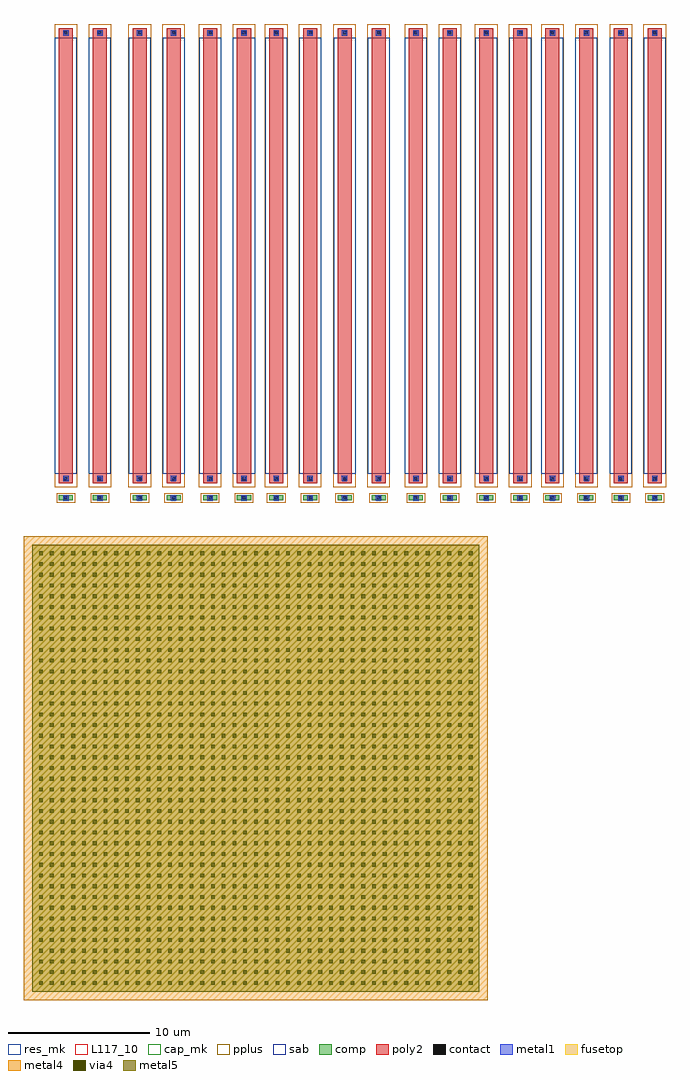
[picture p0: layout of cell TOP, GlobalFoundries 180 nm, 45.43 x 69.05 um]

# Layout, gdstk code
from math import pi, radians
import gdstk
lib = gdstk.Library(unit=1e-6, precision=1e-09)
def R(c, l, rs):  # rectangles x0, y0, x1, y1
    for r in rs: c.add(gdstk.rectangle(r[:2], r[2:], *l))
def A(c, l, x, y, w, h, nx, ny, dx, dy):  # array of equal rectangles
    R(c, l, [(x+i*dx, y+j*dy, x+i*dx+w, y+j*dy+h) for i in range(nx) for j in range(ny)])
comp = (22, 0)
poly2 = (30, 0)
pplus = (31, 0)
contact = (33, 0)
metal1 = (34, 0)
via4 = (41, 0)
metal4 = (46, 0)
sab = (49, 0)
fusetop = (75, 0)
metal5 = (81, 0)
res_mk = (110, 5)
cap_mk = (117, 5)
L117_10 = (117, 10)

ppolyf_u_resistor = lib.new_cell('ppolyf_u_resistor')
R(ppolyf_u_resistor, comp, [(-1.88,0,-1.52,1)])
R(ppolyf_u_resistor, poly2, [(-0.66,0,31.53,1)])
R(ppolyf_u_resistor, pplus, [(-0.96,-0.3,31.83,1.3), (-2.04,-0.16,-1.36,1.16)])
R(ppolyf_u_resistor, contact, [(-1.81,0.39,-1.59,0.61), (-0.44,0.39,-0.22,0.61), (31.09,0.39,31.31,0.61)])
R(ppolyf_u_resistor, metal1, [(-1.89,0.309,-1.51,0.691), (-0.52,0.309,-0.14,0.691), (31.01,0.309,31.39,0.691)])
R(ppolyf_u_resistor, sab, [(0,-0.28,30.87,1.28)])
R(ppolyf_u_resistor, res_mk, [(0,0,30.87,1)])

cap_mim = lib.new_cell('cap_mim')
A(cap_mim, via4, 0.48, 0.48, 0.26, 0.26, 41, 41, 0.76, 0.76)
R(cap_mim, metal4, [(-0.6,-0.6,32.22,32.22)])
R(cap_mim, fusetop, [(0,0,31.62,31.62)])
R(cap_mim, metal5, [(0,0,31.62,31.62)])
R(cap_mim, cap_mk, [(-0.6,-0.6,32.22,32.22)])
R(cap_mim, L117_10, [(0,0,31.62,0.1)])

top = lib.new_cell('TOP')
top.add(gdstk.Reference(ppolyf_u_resistor, (3.85,37.57), rotation=pi/2))
top.add(gdstk.Reference(cap_mim, (32.6,32.57), rotation=pi))
top.add(gdstk.Reference(ppolyf_u_resistor, (3.85,37.57), rotation=pi/2))
top.add(gdstk.Reference(ppolyf_u_resistor, (3.85,37.57), rotation=pi/2))
top.add(gdstk.Reference(ppolyf_u_resistor, (14.05,37.57), rotation=pi/2))
top.add(gdstk.Reference(ppolyf_u_resistor, (18.73,37.57), rotation=pi/2))
top.add(gdstk.Reference(ppolyf_u_resistor, (23.57,37.57), rotation=pi/2))
top.add(gdstk.Reference(ppolyf_u_resistor, (9.07,37.57), rotation=pi/2))
top.add(gdstk.Reference(ppolyf_u_resistor, (6.25,37.57), rotation=pi/2))
top.add(gdstk.Reference(ppolyf_u_resistor, (6.25,37.57), rotation=pi/2))
top.add(gdstk.Reference(ppolyf_u_resistor, (6.25,37.57), rotation=pi/2))
top.add(gdstk.Reference(ppolyf_u_resistor, (16.45,37.57), rotation=pi/2))
top.add(gdstk.Reference(ppolyf_u_resistor, (21.13,37.57), rotation=pi/2))
top.add(gdstk.Reference(ppolyf_u_resistor, (25.97,37.57), rotation=pi/2))
top.add(gdstk.Reference(ppolyf_u_resistor, (11.47,37.57), rotation=pi/2))
top.add(gdstk.Reference(ppolyf_u_resistor, (33.59,37.57), rotation=pi/2))
top.add(gdstk.Reference(ppolyf_u_resistor, (38.27,37.57), rotation=pi/2))
top.add(gdstk.Reference(ppolyf_u_resistor, (43.11,37.57), rotation=pi/2))
top.add(gdstk.Reference(ppolyf_u_resistor, (28.61,37.57), rotation=pi/2))
top.add(gdstk.Reference(ppolyf_u_resistor, (35.99,37.57), rotation=pi/2))
top.add(gdstk.Reference(ppolyf_u_resistor, (40.67,37.57), rotation=pi/2))
top.add(gdstk.Reference(ppolyf_u_resistor, (45.51,37.57), rotation=pi/2))
top.add(gdstk.Reference(ppolyf_u_resistor, (31.01,37.57), rotation=pi/2))

lib.write_gds('TOP.gds')
